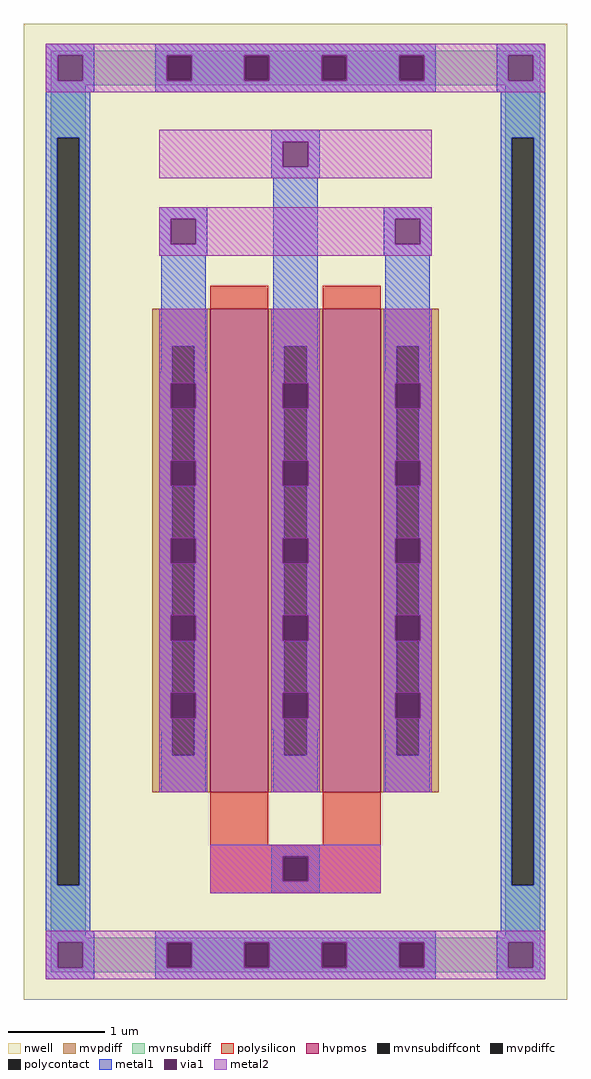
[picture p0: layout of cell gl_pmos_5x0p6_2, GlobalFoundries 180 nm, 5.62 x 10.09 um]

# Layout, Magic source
magic
tech gf180mcuD
magscale 1 10
<< nwell >>
rect -562 -1009 562 1009
<< hvpmos >>
rect -176 -581 -56 419
rect 56 -581 176 419
<< mvpdiff >>
rect -296 342 -176 419
rect -296 -504 -255 342
rect -209 -504 -176 342
rect -296 -581 -176 -504
rect -56 342 56 419
rect -56 -504 -23 342
rect 23 -504 56 342
rect -56 -581 56 -504
rect 176 342 296 419
rect 176 -504 209 342
rect 255 -504 296 342
rect 176 -581 296 -504
<< mvpdiffc >>
rect -255 -504 -209 342
rect -23 -504 23 342
rect 209 -504 255 342
<< mvnsubdiff >>
rect -506 940 506 953
rect -506 894 -263 940
rect -217 894 -103 940
rect -57 894 57 940
rect 103 894 217 940
rect 263 894 506 940
rect -506 881 506 894
rect -506 773 -434 881
rect -506 -773 -493 773
rect -447 -773 -434 773
rect 434 773 506 881
rect -506 -881 -434 -773
rect 434 -773 447 773
rect 493 -773 506 773
rect 434 -881 506 -773
rect -506 -894 506 -881
rect -506 -940 -263 -894
rect -217 -940 -103 -894
rect -57 -940 57 -894
rect 103 -940 217 -894
rect 263 -940 506 -894
rect -506 -953 506 -940
<< mvnsubdiffcont >>
rect -263 894 -217 940
rect -103 894 -57 940
rect 57 894 103 940
rect 217 894 263 940
rect -493 -773 -447 773
rect 447 -773 493 773
rect -263 -940 -217 -894
rect -103 -940 -57 -894
rect 57 -940 103 -894
rect 217 -940 263 -894
<< polysilicon >>
rect -176 419 -56 467
rect 56 419 176 467
rect -176 -689 -56 -581
rect 56 -689 176 -581
rect -176 -716 176 -689
rect -176 -762 -23 -716
rect 23 -762 176 -716
rect -176 -789 176 -762
<< polycontact >>
rect -23 -762 23 -716
<< metal1 >>
rect -516 943 -416 967
rect -516 891 -492 943
rect -440 891 -416 943
rect -516 867 -416 891
rect -290 943 290 967
rect -290 891 -266 943
rect -214 891 -106 943
rect -54 891 54 943
rect 106 891 214 943
rect 266 891 290 943
rect -290 867 290 891
rect 416 943 516 967
rect 416 891 440 943
rect 492 891 516 943
rect 416 867 516 891
rect -516 773 -424 867
rect -516 -773 -493 773
rect -447 -773 -424 773
rect -50 765 50 789
rect -50 713 -26 765
rect 26 713 50 765
rect -50 689 50 713
rect 424 773 516 867
rect -282 605 -182 629
rect -282 553 -258 605
rect -206 553 -182 605
rect -282 529 -182 553
rect -278 342 -186 529
rect -278 289 -255 342
rect -282 265 -255 289
rect -209 289 -186 342
rect -46 342 46 689
rect 182 605 282 629
rect 182 553 206 605
rect 258 553 282 605
rect 182 529 282 553
rect -46 289 -23 342
rect -209 265 -182 289
rect -282 213 -258 265
rect -206 213 -182 265
rect -282 105 -255 213
rect -209 105 -182 213
rect -282 53 -258 105
rect -206 53 -182 105
rect -282 -55 -255 53
rect -209 -55 -182 53
rect -282 -107 -258 -55
rect -206 -107 -182 -55
rect -282 -215 -255 -107
rect -209 -215 -182 -107
rect -282 -267 -258 -215
rect -206 -267 -182 -215
rect -282 -375 -255 -267
rect -209 -375 -182 -267
rect -282 -427 -258 -375
rect -206 -427 -182 -375
rect -282 -451 -255 -427
rect -278 -504 -255 -451
rect -209 -451 -182 -427
rect -50 265 -23 289
rect 23 289 46 342
rect 186 342 278 529
rect 186 289 209 342
rect 23 265 50 289
rect -50 213 -26 265
rect 26 213 50 265
rect -50 105 -23 213
rect 23 105 50 213
rect -50 53 -26 105
rect 26 53 50 105
rect -50 -55 -23 53
rect 23 -55 50 53
rect -50 -107 -26 -55
rect 26 -107 50 -55
rect -50 -215 -23 -107
rect 23 -215 50 -107
rect -50 -267 -26 -215
rect 26 -267 50 -215
rect -50 -375 -23 -267
rect 23 -375 50 -267
rect -50 -427 -26 -375
rect 26 -427 50 -375
rect -50 -451 -23 -427
rect -209 -504 -186 -451
rect -278 -581 -186 -504
rect -46 -504 -23 -451
rect 23 -451 50 -427
rect 182 265 209 289
rect 255 289 278 342
rect 255 265 282 289
rect 182 213 206 265
rect 258 213 282 265
rect 182 105 209 213
rect 255 105 282 213
rect 182 53 206 105
rect 258 53 282 105
rect 182 -55 209 53
rect 255 -55 282 53
rect 182 -107 206 -55
rect 258 -107 282 -55
rect 182 -215 209 -107
rect 255 -215 282 -107
rect 182 -267 206 -215
rect 258 -267 282 -215
rect 182 -375 209 -267
rect 255 -375 282 -267
rect 182 -427 206 -375
rect 258 -427 282 -375
rect 182 -451 209 -427
rect 23 -504 46 -451
rect -46 -581 46 -504
rect 186 -504 209 -451
rect 255 -451 282 -427
rect 255 -504 278 -451
rect 186 -581 278 -504
rect -516 -867 -424 -773
rect -50 -713 50 -689
rect -50 -765 -26 -713
rect 26 -765 50 -713
rect -50 -789 50 -765
rect 424 -773 447 773
rect 493 -773 516 773
rect 424 -867 516 -773
rect -516 -891 -416 -867
rect -516 -943 -492 -891
rect -440 -943 -416 -891
rect -516 -967 -416 -943
rect -290 -891 290 -867
rect -290 -943 -266 -891
rect -214 -943 -106 -891
rect -54 -943 54 -891
rect 106 -943 214 -891
rect 266 -943 290 -891
rect -290 -967 290 -943
rect 416 -891 516 -867
rect 416 -943 440 -891
rect 492 -943 516 -891
rect 416 -967 516 -943
<< via1 >>
rect -492 891 -440 943
rect -266 940 -214 943
rect -266 894 -263 940
rect -263 894 -217 940
rect -217 894 -214 940
rect -266 891 -214 894
rect -106 940 -54 943
rect -106 894 -103 940
rect -103 894 -57 940
rect -57 894 -54 940
rect -106 891 -54 894
rect 54 940 106 943
rect 54 894 57 940
rect 57 894 103 940
rect 103 894 106 940
rect 54 891 106 894
rect 214 940 266 943
rect 214 894 217 940
rect 217 894 263 940
rect 263 894 266 940
rect 214 891 266 894
rect 440 891 492 943
rect -26 713 26 765
rect -258 553 -206 605
rect 206 553 258 605
rect -258 213 -255 265
rect -255 213 -209 265
rect -209 213 -206 265
rect -258 53 -255 105
rect -255 53 -209 105
rect -209 53 -206 105
rect -258 -107 -255 -55
rect -255 -107 -209 -55
rect -209 -107 -206 -55
rect -258 -267 -255 -215
rect -255 -267 -209 -215
rect -209 -267 -206 -215
rect -258 -427 -255 -375
rect -255 -427 -209 -375
rect -209 -427 -206 -375
rect -26 213 -23 265
rect -23 213 23 265
rect 23 213 26 265
rect -26 53 -23 105
rect -23 53 23 105
rect 23 53 26 105
rect -26 -107 -23 -55
rect -23 -107 23 -55
rect 23 -107 26 -55
rect -26 -267 -23 -215
rect -23 -267 23 -215
rect 23 -267 26 -215
rect -26 -427 -23 -375
rect -23 -427 23 -375
rect 23 -427 26 -375
rect 206 213 209 265
rect 209 213 255 265
rect 255 213 258 265
rect 206 53 209 105
rect 209 53 255 105
rect 255 53 258 105
rect 206 -107 209 -55
rect 209 -107 255 -55
rect 255 -107 258 -55
rect 206 -267 209 -215
rect 209 -267 255 -215
rect 255 -267 258 -215
rect 206 -427 209 -375
rect 209 -427 255 -375
rect 255 -427 258 -375
rect -26 -716 26 -713
rect -26 -762 -23 -716
rect -23 -762 23 -716
rect 23 -762 26 -716
rect -26 -765 26 -762
rect -492 -943 -440 -891
rect -266 -894 -214 -891
rect -266 -940 -263 -894
rect -263 -940 -217 -894
rect -217 -940 -214 -894
rect -266 -943 -214 -940
rect -106 -894 -54 -891
rect -106 -940 -103 -894
rect -103 -940 -57 -894
rect -57 -940 -54 -894
rect -106 -943 -54 -940
rect 54 -894 106 -891
rect 54 -940 57 -894
rect 57 -940 103 -894
rect 103 -940 106 -894
rect 54 -943 106 -940
rect 214 -894 266 -891
rect 214 -940 217 -894
rect 217 -940 263 -894
rect 263 -940 266 -894
rect 214 -943 266 -940
rect 440 -943 492 -891
<< metal2 >>
rect -516 943 516 967
rect -516 891 -492 943
rect -440 891 -266 943
rect -214 891 -106 943
rect -54 891 54 943
rect 106 891 214 943
rect 266 891 440 943
rect 492 891 516 943
rect -516 867 516 891
rect -282 765 282 789
rect -282 713 -26 765
rect 26 713 282 765
rect -282 689 282 713
rect -282 605 282 629
rect -282 553 -258 605
rect -206 553 206 605
rect 258 553 282 605
rect -282 529 282 553
rect -282 265 -182 419
rect -282 213 -258 265
rect -206 213 -182 265
rect -282 105 -182 213
rect -282 53 -258 105
rect -206 53 -182 105
rect -282 -55 -182 53
rect -282 -107 -258 -55
rect -206 -107 -182 -55
rect -282 -215 -182 -107
rect -282 -267 -258 -215
rect -206 -267 -182 -215
rect -282 -375 -182 -267
rect -282 -427 -258 -375
rect -206 -427 -182 -375
rect -282 -581 -182 -427
rect -50 265 50 419
rect -50 213 -26 265
rect 26 213 50 265
rect -50 105 50 213
rect -50 53 -26 105
rect 26 53 50 105
rect -50 -55 50 53
rect -50 -107 -26 -55
rect 26 -107 50 -55
rect -50 -215 50 -107
rect -50 -267 -26 -215
rect 26 -267 50 -215
rect -50 -375 50 -267
rect -50 -427 -26 -375
rect 26 -427 50 -375
rect -50 -581 50 -427
rect 182 265 282 419
rect 182 213 206 265
rect 258 213 282 265
rect 182 105 282 213
rect 182 53 206 105
rect 258 53 282 105
rect 182 -55 282 53
rect 182 -107 206 -55
rect 258 -107 282 -55
rect 182 -215 282 -107
rect 182 -267 206 -215
rect 258 -267 282 -215
rect 182 -375 282 -267
rect 182 -427 206 -375
rect 258 -427 282 -375
rect 182 -581 282 -427
rect -176 -713 176 -689
rect -176 -765 -26 -713
rect 26 -765 176 -713
rect -176 -789 176 -765
rect -516 -891 516 -867
rect -516 -943 -492 -891
rect -440 -943 -266 -891
rect -214 -943 -106 -891
rect -54 -943 54 -891
rect 106 -943 214 -891
rect 266 -943 440 -891
rect 492 -943 516 -891
rect -516 -967 516 -943
<< end >>
